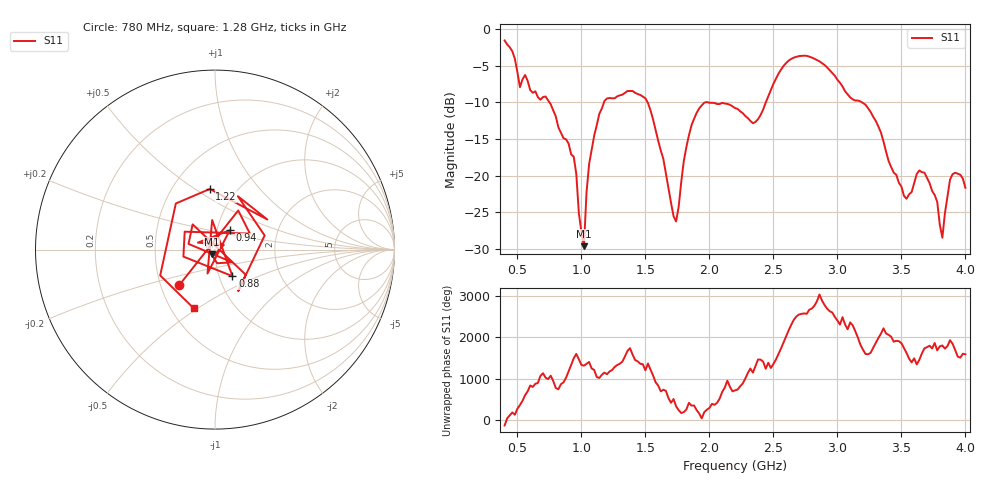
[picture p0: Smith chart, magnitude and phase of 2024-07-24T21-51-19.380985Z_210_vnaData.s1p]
!Created with skrf (http://scikit-rf.org).
# Hz S RI R 50.0
!freq ReS11 ImS11
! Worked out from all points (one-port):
!   181 points, 400 MHz to 4 GHz, reference 50 ohm
!   lowest |S11| = -29.6 dB at 1.02 GHz (marker M1), VSWR 1.07, Z = 48 - j2.57 ohm
!   |S11| at or under -10 dB: 1.518 GHz to 1.967 GHz (449.7 MHz wide, 25.8 % of centre); 1.991 GHz to 2.441 GHz (450 MHz wide, 20.3 % of centre); 3.193 GHz to end of sweep (the widest 3 of 4)
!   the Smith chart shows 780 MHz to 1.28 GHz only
!   S11 on the Smith chart (normalised r, x): 780 MHz: 0.63, -0.27; 880 MHz: 1.16, -0.35; 940 MHz: 1.15, +0.25; 1.22 GHz: 0.75, +0.58; 1.28 GHz: 0.65, -0.48
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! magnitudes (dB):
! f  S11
! 400 MHz  -1.5
! 520 MHz  -7.9
! 780 MHz  -11.1
! 860 MHz  -14.9
! 880 MHz  -15.0
! 940 MHz  -17.4
! 1.02 GHz  -29.6
! 1.06 GHz  -18.4
! 1.14 GHz  -11.5
! 1.22 GHz  -9.4
! 1.28 GHz  -9.2
! 1.3 GHz  -9.0
! 1.52 GHz  -10.1
! 1.72 GHz  -25.5
! 1.76 GHz  -24.2
! 1.82 GHz  -16.1
! 1.9 GHz  -11.4
! 2.2 GHz  -10.8
! 2.36 GHz  -12.7
! 2.66 GHz  -3.9
! 3.1 GHz  -9.3
! 3.26 GHz  -11.3
! 3.56 GHz  -22.5
! 3.68 GHz  -19.6
! 3.78 GHz  -23.6
! 3.82 GHz  -28.5
! 3.88 GHz  -20.5
! 4 GHz  -21.6
